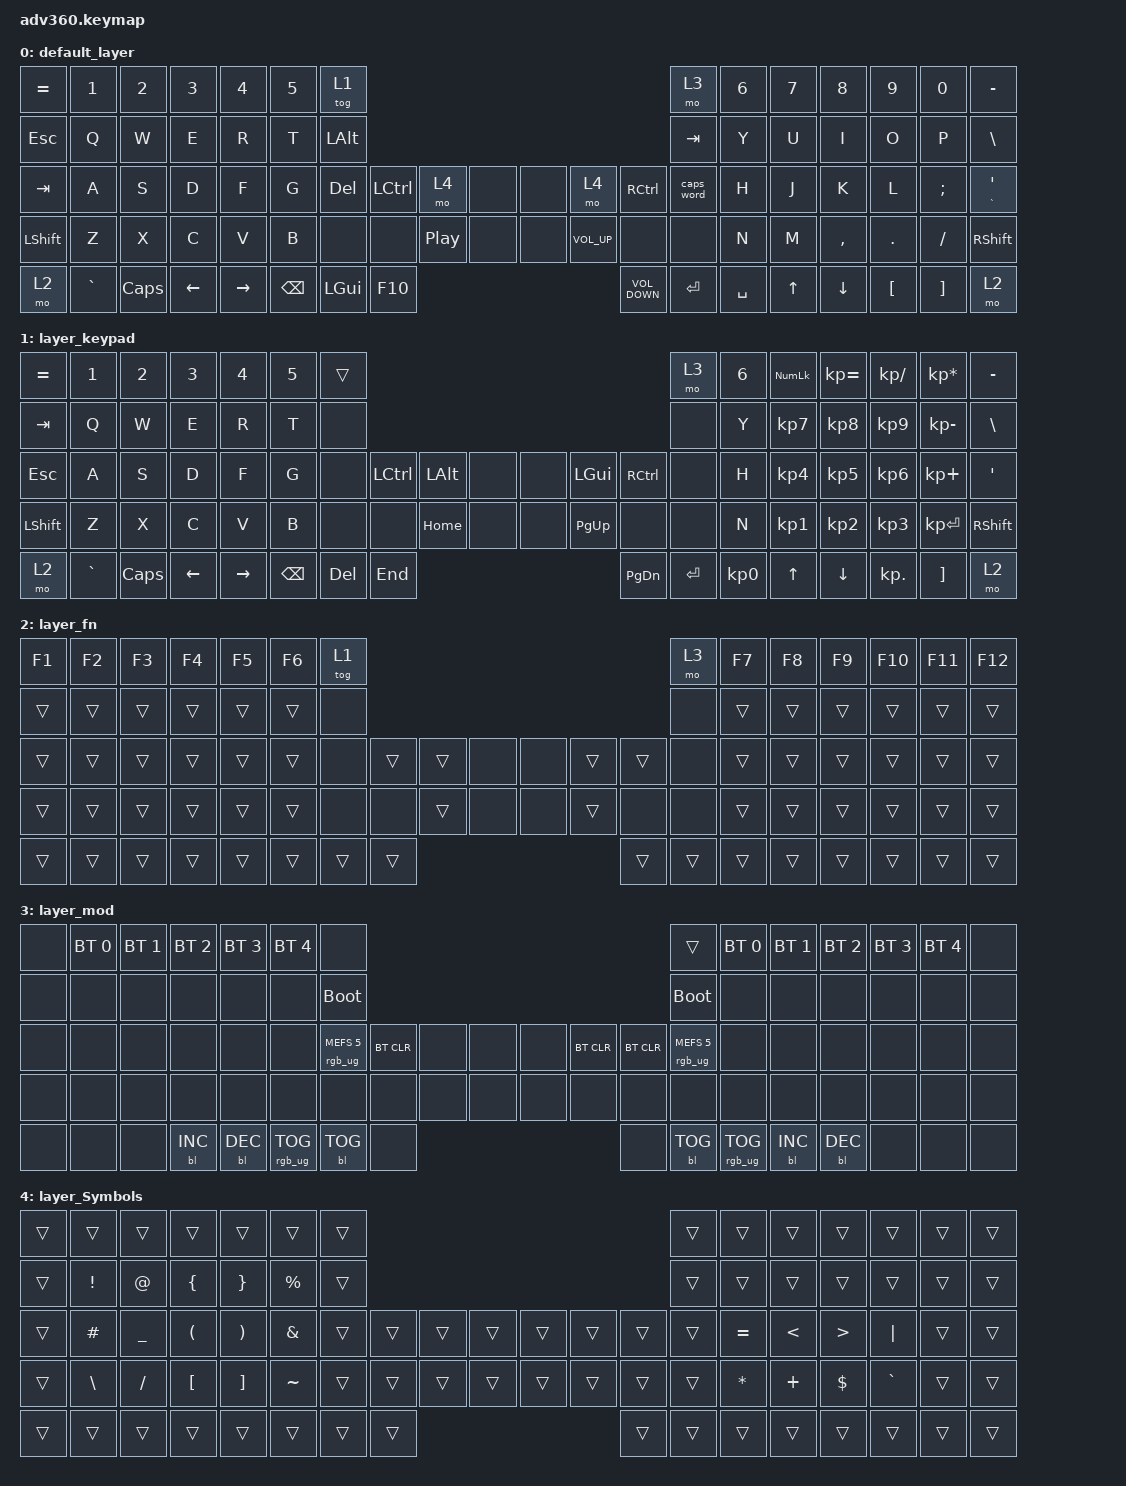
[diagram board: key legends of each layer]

/*
 * Copyright (c) 2020 The ZMK Contributors
 *
 * SPDX-License-Identifier: MIT
 */


/* THIS FILE WAS GENERATED!
 *
 * This file was generated automatically. You may or may not want to
 * edit it directly.
 */

#include <behaviors.dtsi>
#include <dt-bindings/zmk/keys.h>
#include <dt-bindings/zmk/bt.h>
#include <dt-bindings/zmk/rgb.h>
#include <dt-bindings/zmk/backlight.h>

/ {
  behaviors {
    #include "macros.dtsi"

    hm: homerow_mods {
        compatible = "zmk,behavior-hold-tap";
        label = "HOMEROW_MODS";
        #binding-cells = <2>;
        tapping-term-ms = <200>;
        quick_tap_ms = <175>;
        flavor = "tap-preferred";
        bindings = <&kp>, <&kp>;
    };
  };

    keymap {
        compatible = "zmk,keymap";


        default_layer {
            bindings = <
 &kp EQUAL     &kp N1    &kp N2    &kp N3     &kp N4  &kp N5                  &tog 1                                                                                  &mo 3  &kp N6  &kp N7     &kp N8    &kp N9    &kp N0      &kp MINUS
   &kp ESC      &kp Q     &kp W     &kp E      &kp R   &kp T            &kp LEFT_ALT                                                                                &kp TAB   &kp Y   &kp U      &kp I     &kp O     &kp P       &kp BSLH
   &kp TAB      &kp A     &kp S     &kp D      &kp F   &kp G                 &kp DEL  &kp LCTRL             &mo 4   &none   &none              &mo 4  &kp RCTRL  &caps_word   &kp H   &kp J      &kp K     &kp L  &kp SEMI  &mt GRAVE SQT
 &kp LSHFT      &kp Z     &kp X     &kp C      &kp V   &kp B                   &none      &none  &kp C_PLAY_PAUSE   &none   &none    &kp C_VOLUME_UP      &none       &none   &kp N   &kp M  &kp COMMA   &kp DOT  &kp FSLH      &kp RSHFT
     &mo 2  &kp GRAVE  &kp CAPS  &kp LEFT  &kp RIGHT                        &kp BSPC   &kp LGUI           &kp F10                  &kp C_VOLUME_DOWN  &kp ENTER   &kp SPACE          &kp UP   &kp DOWN  &kp LBKT  &kp RBKT          &mo 2
            >;
        };

        layer_keypad {
            bindings = <
 &kp EQUAL     &kp N1    &kp N2    &kp N3     &kp N4  &kp N5              &trans                                                                 &mo 3  &kp N6  &kp KP_NUM  &kp KP_EQUAL  &kp KP_DIVIDE  &kp KP_MULTIPLY  &kp MINUS
   &kp TAB      &kp Q     &kp W     &kp E      &kp R   &kp T               &none                                                                 &none   &kp Y   &kp KP_N7     &kp KP_N8      &kp KP_N9     &kp KP_MINUS   &kp BSLH
   &kp ESC      &kp A     &kp S     &kp D      &kp F   &kp G               &none  &kp LCTRL  &kp LALT   &none   &none   &kp LGUI  &kp RCTRL      &none   &kp H   &kp KP_N4     &kp KP_N5      &kp KP_N6      &kp KP_PLUS    &kp SQT
 &kp LSHFT      &kp Z     &kp X     &kp C      &kp V   &kp B               &none      &none  &kp HOME   &none   &none  &kp PG_UP      &none      &none   &kp N   &kp KP_N1     &kp KP_N2      &kp KP_N3     &kp KP_ENTER  &kp RSHFT
     &mo 2  &kp GRAVE  &kp CAPS  &kp LEFT  &kp RIGHT                    &kp BSPC    &kp DEL   &kp END                  &kp PG_DN  &kp ENTER  &kp KP_N0              &kp UP      &kp DOWN     &kp KP_DOT         &kp RBKT      &mo 2
            >;
        };

        layer_fn {
            bindings = <
 &kp F1  &kp F2  &kp F3  &kp F4  &kp F5  &kp F6            &tog 1                                                   &mo 3  &kp F7  &kp F8  &kp F9  &kp F10  &kp F11  &kp F12
 &trans  &trans  &trans  &trans  &trans  &trans             &none                                                   &none  &trans  &trans  &trans   &trans   &trans   &trans
 &trans  &trans  &trans  &trans  &trans  &trans             &none  &trans  &trans   &none   &none  &trans  &trans   &none  &trans  &trans  &trans   &trans   &trans   &trans
 &trans  &trans  &trans  &trans  &trans  &trans             &none   &none  &trans   &none   &none  &trans   &none   &none  &trans  &trans  &trans   &trans   &trans   &trans
 &trans  &trans  &trans  &trans  &trans                    &trans  &trans  &trans                  &trans  &trans  &trans          &trans  &trans   &trans   &trans   &trans
            >;
        };

        layer_mod {
            bindings = <
  &none  &bt BT_SEL 0  &bt BT_SEL 1  &bt BT_SEL 2  &bt BT_SEL 3  &bt BT_SEL 4                             &none                                                                              &trans  &bt BT_SEL 0  &bt BT_SEL 1  &bt BT_SEL 2  &bt BT_SEL 3  &bt BT_SEL 4   &none
  &none         &none         &none         &none         &none         &none                       &bootloader                                                                         &bootloader         &none         &none         &none         &none         &none   &none
  &none         &none         &none         &none         &none         &none            &rgb_ug RGB_MEFS_CMD 5  &bt BT_CLR   &none   &none   &none  &bt BT_CLR  &bt BT_CLR  &rgb_ug RGB_MEFS_CMD 5         &none         &none         &none         &none         &none   &none
  &none         &none         &none         &none         &none         &none                             &none       &none   &none   &none   &none       &none       &none                   &none         &none         &none         &none         &none         &none   &none
  &none         &none         &none    &bl BL_INC    &bl BL_DEC                                 &rgb_ug RGB_TOG  &bl BL_TOG   &none                       &none  &bl BL_TOG         &rgb_ug RGB_TOG                  &bl BL_INC    &bl BL_DEC         &none         &none   &none
            >;
        };

        layer_Symbols {
            bindings = <
 &trans           &trans          &trans                &trans                 &trans         &trans            &trans                                                  &trans        &trans         &trans            &trans     &trans  &trans  &trans
 &trans  &kp EXCLAMATION     &kp AT_SIGN        &kp LEFT_BRACE        &kp RIGHT_BRACE    &kp PERCENT            &trans                                                  &trans        &trans         &trans            &trans     &trans  &trans  &trans
 &trans        &kp POUND  &kp UNDERSCORE  &kp LEFT_PARENTHESIS  &kp RIGHT_PARENTHESIS  &kp AMPERSAND            &trans  &trans  &trans  &trans  &trans  &trans  &trans  &trans     &kp EQUAL  &kp LESS_THAN  &kp GREATER_THAN   &kp PIPE  &trans  &trans
 &trans    &kp BACKSLASH       &kp SLASH      &kp LEFT_BRACKET      &kp RIGHT_BRACKET      &kp TILDE            &trans  &trans  &trans  &trans  &trans  &trans  &trans  &trans  &kp ASTERISK       &kp PLUS        &kp DOLLAR  &kp GRAVE  &trans  &trans
 &trans           &trans          &trans                &trans                 &trans                           &trans  &trans  &trans                  &trans  &trans  &trans                       &trans            &trans     &trans  &trans  &trans
            >;
        };

    };
};
